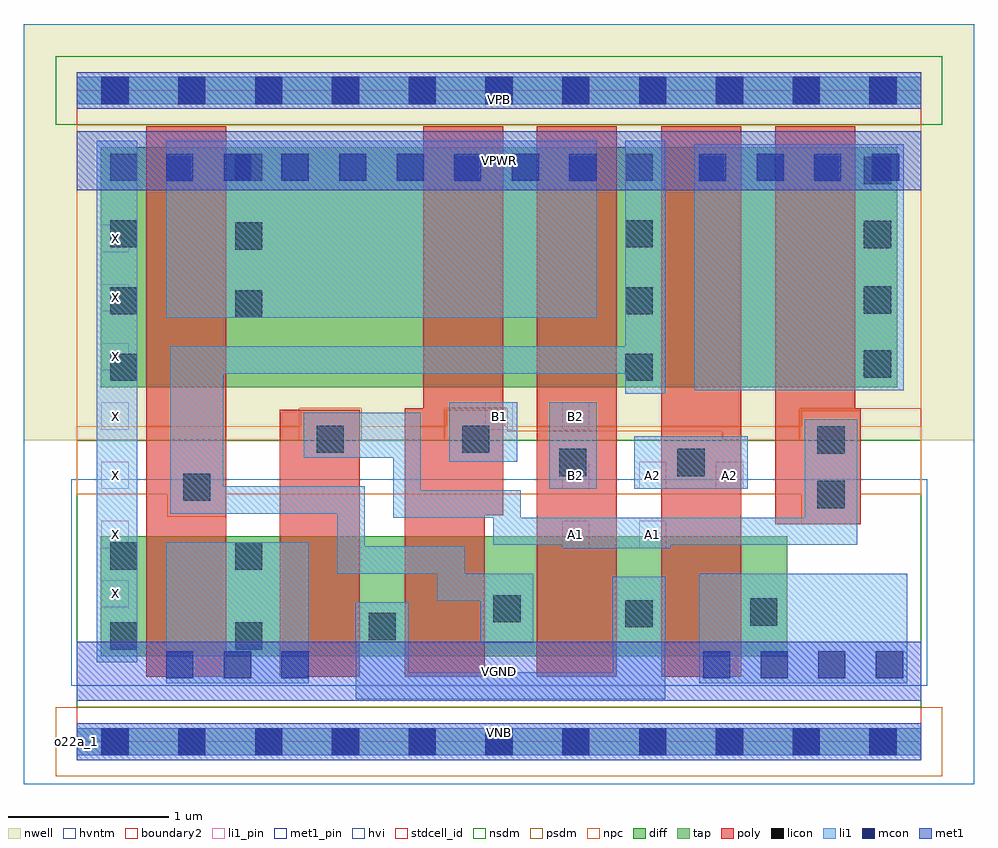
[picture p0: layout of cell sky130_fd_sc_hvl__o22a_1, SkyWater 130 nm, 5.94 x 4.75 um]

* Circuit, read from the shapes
.subckt sky130_fd_sc_hvl__o22a_1 A1 A2 B1 B2 VGND VNB VPB VPWR X
XM1 VGND n1 X VNB sky130_fd_pr__nfet_g5v0d10v5 w=0.75 l=0.5
XM2 n2 A1 VGND VNB sky130_fd_pr__nfet_g5v0d10v5 w=0.75 l=0.5
XM3 n1 B1 n2 VNB sky130_fd_pr__nfet_g5v0d10v5 w=0.75 l=0.5
XM4 n2 B2 n1 VNB sky130_fd_pr__nfet_g5v0d10v5 w=0.75 l=0.5
XM5 VGND A2 n2 VNB sky130_fd_pr__nfet_g5v0d10v5 w=0.75 l=0.5
XM6 VPWR n1 X VPB sky130_fd_pr__pfet_g5v0d10v5 w=1.5 l=0.5
XM7 n3 B1 VPWR VPB sky130_fd_pr__pfet_g5v0d10v5 w=1.5 l=0.5
XM8 n1 B2 n3 VPB sky130_fd_pr__pfet_g5v0d10v5 w=1.5 l=0.5
XM9 n4 A2 n1 VPB sky130_fd_pr__pfet_g5v0d10v5 w=1.5 l=0.5
XM10 VPWR A1 n4 VPB sky130_fd_pr__pfet_g5v0d10v5 w=1.5 l=0.5
.ends

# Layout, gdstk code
import gdstk
lib = gdstk.Library(unit=1e-6, precision=1e-09)
def R(c, l, rs):  # rectangles x0, y0, x1, y1
    for r in rs: c.add(gdstk.rectangle(r[:2], r[2:], *l))
def A(c, l, x, y, w, h, nx, ny, dx, dy):  # array of equal rectangles
    R(c, l, [(x+i*dx, y+j*dy, x+i*dx+w, y+j*dy+h) for i in range(nx) for j in range(ny)])
def P(c, l, *ps):  # polygons
    for p in ps: c.add(gdstk.Polygon(p, *l))
nwell = (64, 20)
diff = (65, 20)
tap = (65, 44)
poly = (66, 20)
licon = (66, 44)
li1_pin = (67, 16)
li1 = (67, 20)
mcon = (67, 44)
met1_pin = (68, 16)
met1 = (68, 20)
hvi = (75, 20)
stdcell_id = (81, 4)
nsdm = (93, 44)
psdm = (94, 20)
npc = (95, 20)
hvntm = (125, 20)
boundary2 = (236, 0)

sky130_fd_sc_hvl__o22a_1 = lib.new_cell('sky130_fd_sc_hvl__o22a_1')
R(sky130_fd_sc_hvl__o22a_1, nwell, [(-0.33,1.885,5.61,4.485)])
R(sky130_fd_sc_hvl__o22a_1, diff, [(0.15,0.535,4.44,1.285), (0.15,2.215,5.13,3.715)])
R(sky130_fd_sc_hvl__o22a_1, tap, [(0,-0.085,5.28,0.085), (0,3.985,5.28,4.155)])
R(sky130_fd_sc_hvl__o22a_1, poly, [(0.435,0.405,0.935,3.845), (1.27,0.405,1.77,2.075), (2.875,0.405,3.375,3.845), (3.655,0.405,4.155,3.845)])
P(sky130_fd_sc_hvl__o22a_1, poly, [(2.665,3.845),(2.165,3.845),(2.165,2.085),(2.05,2.085),(2.05,0.405),(2.55,0.405),(2.55,1.415),(2.665,1.415)],
  [(4.9,2.085),(4.865,2.085),(4.865,3.845),(4.365,3.845),(4.365,1.36),(4.9,1.36)])
A(sky130_fd_sc_hvl__o22a_1, licon, 0.155, -0.085, 0.17, 0.17, 11, 2, 0.48, 4.07)
R(sky130_fd_sc_hvl__o22a_1, licon, [(0.21,0.575,0.38,0.745), (0.99,0.575,1.16,0.745), (1.825,0.635,1.995,0.805), (3.43,0.715,3.6,0.885), (4.21,0.725,4.38,0.895), (2.605,0.745,2.775,0.915), (0.21,1.075,0.38,1.245), (0.99,1.075,1.16,1.245), (4.63,1.46,4.8,1.63), (0.665,1.505,0.835,1.675), (3.015,1.66,3.185,1.83), (3.755,1.66,3.925,1.83), (4.63,1.8,4.8,1.97), (1.5,1.805,1.67,1.975), (2.41,1.805,2.58,1.975), (0.21,2.255,0.38,2.425), (3.43,2.255,3.6,2.425), (4.92,2.275,5.09,2.445), (0.99,2.65,1.16,2.82), (0.21,2.67,0.38,2.84), (3.43,2.67,3.6,2.84), (4.92,2.675,5.09,2.845), (0.99,3.075,1.16,3.245), (4.92,3.085,5.09,3.255), (0.21,3.09,0.38,3.26), (3.43,3.09,3.6,3.26), (4.92,3.485,5.09,3.655), (0.21,3.505,0.38,3.675), (0.99,3.505,1.16,3.675), (3.43,3.505,3.6,3.675)])
A(sky130_fd_sc_hvl__o22a_1, li1_pin, 0.155, 0.84, 0.17, 0.17, 1, 7, 0, 0.37)
A(sky130_fd_sc_hvl__o22a_1, li1_pin, 3.035, 1.58, 0.17, 0.17, 3, 1, 0.48, 0)
R(sky130_fd_sc_hvl__o22a_1, li1_pin, [(3.035,1.21,3.205,1.38), (3.515,1.21,3.685,1.38), (2.555,1.95,2.725,2.12), (3.035,1.95,3.205,2.12)])
R(sky130_fd_sc_hvl__o22a_1, li1, [(0,-0.085,5.28,0.085), (0.56,0.365,1.45,1.245), (3.89,0.365,5.19,1.05), (0.125,0.495,0.38,3.755), (2.955,1.58,3.25,2.12), (3.485,1.58,4.195,1.91), (2.33,1.75,2.755,2.12), (3.86,2.195,5.17,3.735), (0.56,2.65,3.25,3.755), (0,3.985,5.28,4.155)])
P(sky130_fd_sc_hvl__o22a_1, li1, [(3.68,3.755),(3.43,3.755),(3.43,2.47),(0.585,2.47),(0.585,1.425),(1.63,1.425),(1.63,1.05),(2.255,1.05),(2.255,0.88),(2.525,0.88),(2.525,0.615),(2.855,0.615),(2.855,1.05),(2.425,1.05),(2.425,1.22),(1.8,1.22),(1.8,1.595),(0.915,1.595),(0.915,2.3),(3.43,2.3),(3.43,2.175),(3.68,2.175)],
  [(3.68,1.03),(3.35,1.03),(3.35,0.435),(2.075,0.435),(2.075,0.87),(1.745,0.87),(1.745,0.265),(3.68,0.265)],
  [(4.88,2.015),(4.55,2.015),(4.55,1.4),(2.775,1.4),(2.775,1.57),(2.15,1.57),(2.15,2.055),(1.42,2.055),(1.42,1.775),(1.98,1.775),(1.98,1.4),(2.605,1.4),(2.605,1.23),(3.035,1.23),(3.035,1.21),(3.71,1.21),(3.71,1.23),(4.88,1.23)])
A(sky130_fd_sc_hvl__o22a_1, mcon, 0.56, 0.395, 0.17, 0.17, 3, 1, 0.36, 0)
A(sky130_fd_sc_hvl__o22a_1, mcon, 3.915, 0.395, 0.17, 0.17, 4, 1, 0.36, 0)
A(sky130_fd_sc_hvl__o22a_1, mcon, 0.56, 3.505, 0.17, 0.17, 8, 1, 0.36, 0)
A(sky130_fd_sc_hvl__o22a_1, mcon, 3.89, 3.505, 0.17, 0.17, 4, 1, 0.36, 0)
R(sky130_fd_sc_hvl__o22a_1, mcon, [(0.155,-0.085,0.325,0.085), (0.155,-0.085,0.325,0.085), (0.635,-0.085,0.805,0.085), (0.635,-0.085,0.805,0.085), (1.115,-0.085,1.285,0.085), (1.115,-0.085,1.285,0.085), (1.595,-0.085,1.765,0.085), (1.595,-0.085,1.765,0.085), (2.075,-0.085,2.245,0.085), (2.075,-0.085,2.245,0.085), (2.555,-0.085,2.725,0.085), (2.555,-0.085,2.725,0.085), (3.035,-0.085,3.205,0.085), (3.035,-0.085,3.205,0.085), (3.515,-0.085,3.685,0.085), (3.515,-0.085,3.685,0.085), (3.995,-0.085,4.165,0.085), (3.995,-0.085,4.165,0.085), (4.475,-0.085,4.645,0.085), (4.475,-0.085,4.645,0.085), (4.955,-0.085,5.125,0.085), (4.955,-0.085,5.125,0.085), (0.155,3.985,0.325,4.155), (0.155,3.985,0.325,4.155), (0.635,3.985,0.805,4.155), (0.635,3.985,0.805,4.155), (1.115,3.985,1.285,4.155), (1.115,3.985,1.285,4.155), (1.595,3.985,1.765,4.155), (1.595,3.985,1.765,4.155), (2.075,3.985,2.245,4.155), (2.075,3.985,2.245,4.155), (2.555,3.985,2.725,4.155), (2.555,3.985,2.725,4.155), (3.035,3.985,3.205,4.155), (3.035,3.985,3.205,4.155), (3.515,3.985,3.685,4.155), (3.515,3.985,3.685,4.155), (3.995,3.985,4.165,4.155), (3.995,3.985,4.165,4.155), (4.475,3.985,4.645,4.155), (4.475,3.985,4.645,4.155), (4.955,3.985,5.125,4.155), (4.955,3.985,5.125,4.155)])
R(sky130_fd_sc_hvl__o22a_1, met1_pin, [(0,0,5.28,0.115), (0,0.255,5.28,0.625), (0,3.445,5.28,3.815), (0,3.955,5.28,4.07)])
R(sky130_fd_sc_hvl__o22a_1, met1, [(0,-0.115,5.28,0.115), (0,0.255,5.28,0.625), (0,3.445,5.28,3.815), (0,3.955,5.28,4.185)])
R(sky130_fd_sc_hvl__o22a_1, hvi, [(-0.33,-0.265,5.61,4.485)])
R(sky130_fd_sc_hvl__o22a_1, stdcell_id, [(0,0,5.28,4.07)])
R(sky130_fd_sc_hvl__o22a_1, nsdm, [(0,0.215,5.28,1.885), (-0.13,3.855,5.41,4.285), (0,3.855,5.28,4.07)])
R(sky130_fd_sc_hvl__o22a_1, psdm, [(-0.13,-0.215,5.41,0.215)])
P(sky130_fd_sc_hvl__o22a_1, psdm, [(5.28,3.855),(0,3.855),(0,1.885),(1.39,1.885),(1.39,2.085),(1.78,2.085),(1.78,1.885),(2.3,1.885),(2.3,2.085),(2.69,2.085),(2.69,1.94),(4.035,1.94),(4.035,1.885),(4.52,1.885),(4.52,2.08),(5.28,2.08)])
P(sky130_fd_sc_hvl__o22a_1, npc, [(5.28,1.97),(4.9,1.97),(4.9,2.07),(4.53,2.07),(4.53,1.97),(2.68,1.97),(2.68,2.075),(2.31,2.075),(2.31,1.97),(1.77,1.97),(1.77,2.075),(1.4,2.075),(1.4,1.97),(0,1.97),(0,1.545),(0.565,1.545),(0.565,1.405),(0.935,1.405),(0.935,1.545),(4.53,1.545),(4.53,1.36),(4.9,1.36),(4.9,1.545),(5.28,1.545)])
R(sky130_fd_sc_hvl__o22a_1, hvntm, [(-0.035,0.35,5.315,1.64)])
R(sky130_fd_sc_hvl__o22a_1, boundary2, [(0,0,5.28,4.07)])
sky130_fd_sc_hvl__o22a_1.add(gdstk.Label('o22a_1', (0,0), layer=83, texttype=44))
sky130_fd_sc_hvl__o22a_1.add(gdstk.Label('VGND', (2.64,0.44), layer=68, texttype=5))
sky130_fd_sc_hvl__o22a_1.add(gdstk.Label('VNB', (2.64,0.058), layer=68, texttype=5))
sky130_fd_sc_hvl__o22a_1.add(gdstk.Label('VPWR', (2.64,3.63), layer=68, texttype=5))
sky130_fd_sc_hvl__o22a_1.add(gdstk.Label('VPB', (2.64,4.013), layer=68, texttype=5))
sky130_fd_sc_hvl__o22a_1.add(gdstk.Label('A1', (3.12,1.295), layer=67, texttype=5))
sky130_fd_sc_hvl__o22a_1.add(gdstk.Label('A1', (3.6,1.295), layer=67, texttype=5))
sky130_fd_sc_hvl__o22a_1.add(gdstk.Label('A2', (3.6,1.665), layer=67, texttype=5))
sky130_fd_sc_hvl__o22a_1.add(gdstk.Label('A2', (4.08,1.665), layer=67, texttype=5))
sky130_fd_sc_hvl__o22a_1.add(gdstk.Label('B1', (2.64,2.035), layer=67, texttype=5))
sky130_fd_sc_hvl__o22a_1.add(gdstk.Label('B2', (3.12,1.665), layer=67, texttype=5))
sky130_fd_sc_hvl__o22a_1.add(gdstk.Label('B2', (3.12,2.035), layer=67, texttype=5))
sky130_fd_sc_hvl__o22a_1.add(gdstk.Label('X', (0.24,0.925), layer=67, texttype=5))
sky130_fd_sc_hvl__o22a_1.add(gdstk.Label('X', (0.24,1.295), layer=67, texttype=5))
sky130_fd_sc_hvl__o22a_1.add(gdstk.Label('X', (0.24,1.665), layer=67, texttype=5))
sky130_fd_sc_hvl__o22a_1.add(gdstk.Label('X', (0.24,2.035), layer=67, texttype=5))
sky130_fd_sc_hvl__o22a_1.add(gdstk.Label('X', (0.24,2.405), layer=67, texttype=5))
sky130_fd_sc_hvl__o22a_1.add(gdstk.Label('X', (0.24,2.775), layer=67, texttype=5))
sky130_fd_sc_hvl__o22a_1.add(gdstk.Label('X', (0.24,3.145), layer=67, texttype=5))

lib.write_gds('sky130_fd_sc_hvl__o22a_1.gds')
